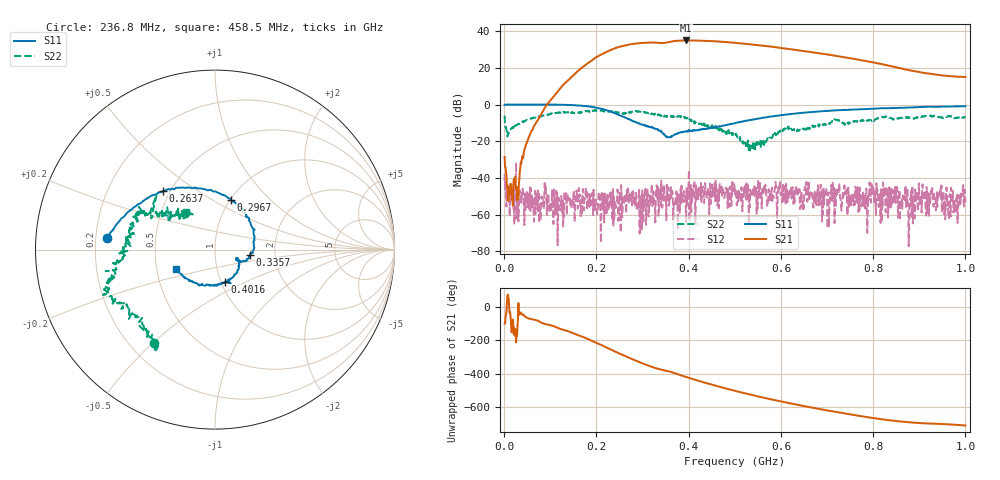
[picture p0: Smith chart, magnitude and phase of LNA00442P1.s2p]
! Created with skrf 1.9.0 (http://scikit-rf.org).
# Hz S RI R 50.0
!freq ReS11 ImS11 ReS21 ImS21 ReS12 ImS12 ReS22 ImS22
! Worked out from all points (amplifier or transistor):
!   1001 points, 1 MHz to 1 GHz, reference 50 ohm
!   highest |S21| = 34.9 dB at 394.6 MHz (marker M1)
!   |S21| within 3 dB of that: 257.1 MHz to 565.9 MHz (308.8 MHz wide, 75 % of centre)
!   unconditionally stable (mu >= 1): 9.561 MHz to 57.57 MHz; 253.9 MHz to 400.1 MHz; 400.8 MHz to end of sweep (the widest 3 of 32)
!   at 166.8 MHz: K = 2.72, MAG = 31.0 dB, |S12| = -56.7 dB
!   at 500.5 MHz: K = 2.66, MAG = 34.2 dB, |S12| = -49.0 dB
!   at 1 GHz: K = 6.19, MAG = 23.3 dB, |S12| = -53.3 dB
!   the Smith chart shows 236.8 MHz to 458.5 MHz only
!   S11 on the Smith chart (normalised r, x): 236.8 MHz: 0.25, +0.05; 263.7 MHz: 0.46, +0.37; 296.7 MHz: 1.01, +0.61; 335.7 MHz: 1.48, -0.09; 401.6 MHz: 1.05, -0.39; 458.5 MHz: 0.63, -0.15
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1000000  0.9752 0.00489  -0.00747 -0.0368  -0.00695 0.0108  0.402 0.2923
1.08892e8  0.5238 -0.8464  -0.8395 -1.528  0.00319 0.00146  0.4123 -0.3917
1.67833e8  -0.229 -0.8987  -9.94 -0.4267  -0.000727 -0.00253  0.0177 -0.6315
2.07793e8  -0.6562 -0.417  -15.6 15.78  -0.00217 -0.00277  -0.2088 -0.6463
2.36764e8  -0.5993 0.0645  -4.148 32.62  9.54e-05 -0.000466  -0.3383 -0.5222
2.63737e8  -0.2897 0.326  18.35 36.66  -0.00213 0.000657  -0.4737 -0.3516
2.96704e8  0.0897 0.2758  42.4 20.51  -0.000138 -0.00182  -0.593 -0.2152
3.16684e8  0.2024 0.132  48.45 4.1  -0.00169 -0.00073  -0.5753 -0.119
3.34666e8  0.1988 -0.0229  46.93 -9.686  -0.00051 -0.000791  -0.5376 -0.0242
3.35665e8  0.1944 -0.028  46.55 -10.48  -0.00137 -0.000225  -0.5278 -0.0209
3.67633e8  0.1334 -0.062  44.06 -29.86  -0.0017 0.000643  -0.4401 0.1668
3.94606e8  0.0848 -0.1634  28.46 -47.76  -0.000604 -0.000188  -0.3907 0.1893
4.01599e8  0.0564 -0.1785  23.1 -50.42  0.00061 0.000265  -0.3562 0.1739
4.27573e8  -0.074 -0.1963  3.16 -54.6  0.000776 0.00196  -0.2063 0.2179
4.58542e8  -0.218 -0.1106  -18.92 -49.26  0.00558 0.00626  -0.1634 0.2094
5.005e8  -0.2941 0.0947  -37.7 -29.91  -0.00353 -0.000543  -0.1167 0.1209
5.4046e8  -0.2393 0.3153  -41.71 -8.806  0.00499 0.00281  -0.088 0.0169
5.88412e8  -0.0501 0.4891  -34.6 11.28  0.00352 -0.00698  -0.1385 -0.0821
6.67333e8  0.3272 0.5362  -12.62 23.23  7.33e-05 -0.00443  -0.2414 -0.0312
7.53247e8  0.626 0.3688  4.055 17.44  -0.00138 -0.00364  -0.3271 0.0478
8.34166e8  0.7854 0.1446  8.21 7.944  -0.00355 0.000533  -0.4232 0.1393
1e9  0.8145 -0.3861  5.504 1.213  -0.00189 0.00105  -0.1234 0.4172
